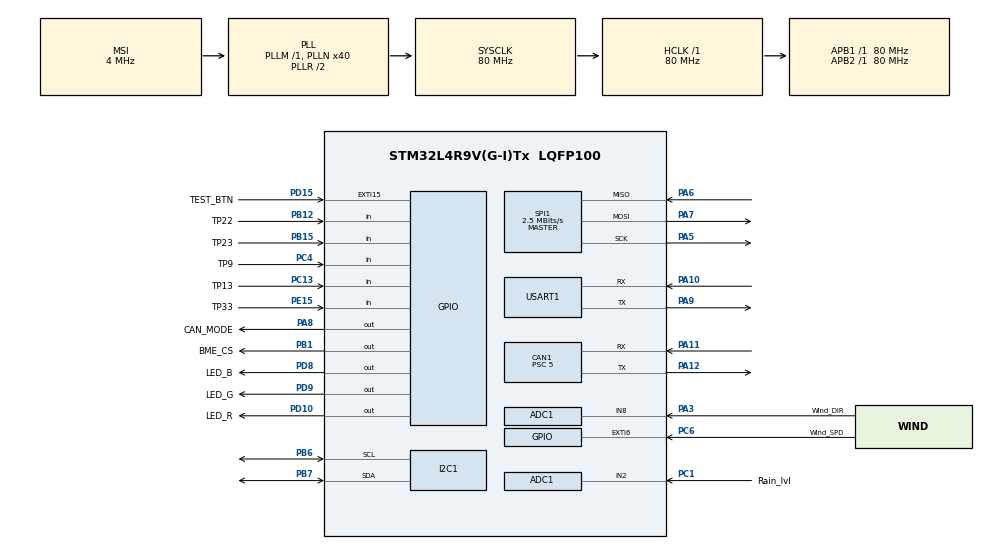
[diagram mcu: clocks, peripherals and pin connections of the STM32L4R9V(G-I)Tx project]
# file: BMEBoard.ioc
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ADC1.Channel-0\#ChannelRegularConversion=ADC_CHANNEL_2
ADC1.ClockPrescaler=ADC_CLOCK_ASYNC_DIV1
ADC1.ContinuousConvMode=DISABLE
ADC1.DMAContinuousRequests=DISABLE
ADC1.EOCSelection=ADC_EOC_SEQ_CONV
ADC1.NbrOfConversion=1
ADC1.NbrOfConversionFlag=1
ADC1.OffsetNumber-0\#ChannelRegularConversion=ADC_OFFSET_NONE
ADC1.Overrun=ADC_OVR_DATA_OVERWRITTEN
ADC1.Rank-0\#ChannelRegularConversion=1
ADC1.SamplingTime-0\#ChannelRegularConversion=ADC_SAMPLETIME_640CYCLES_5
ADC1.master=1
CAN1.AWUM=ENABLE
CAN1.BS1=CAN_BS1_13TQ
CAN1.BS2=CAN_BS2_2TQ
CAN1.CalculateBaudRate=1000000
CAN1.CalculateTimeBit=1000.00
CAN1.CalculateTimeQuantum=62.5
CAN1.NART=ENABLE
CAN1.Prescaler=5
Dma.Request0=USART1_TX
Dma.USART1_TX.0.Direction=DMA_MEMORY_TO_PERIPH
Dma.USART1_TX.0.EventEnable=DISABLE
Dma.USART1_TX.0.Instance=DMA1_Channel2
Dma.USART1_TX.0.MemDataAlignment=DMA_MDATAALIGN_BYTE
Dma.USART1_TX.0.MemInc=DMA_MINC_ENABLE
Dma.USART1_TX.0.Mode=DMA_NORMAL
Dma.USART1_TX.0.PeriphDataAlignment=DMA_PDATAALIGN_BYTE
Dma.USART1_TX.0.PeriphInc=DMA_PINC_DISABLE
Dma.USART1_TX.0.Polarity=HAL_DMAMUX_REQUEST_GEN_RISING
Dma.USART1_TX.0.Priority=DMA_PRIORITY_LOW
Dma.USART1_TX.0.RequestNumber=1
Dma.USART1_TX.0.SignalID=NONE
Dma.USART1_TX.0.SyncEnable=DISABLE
Dma.USART1_TX.0.SyncPolarity=HAL_DMAMUX_SYNC_NO_EVENT
Dma.USART1_TX.0.SyncRequestNumber=1
Dma.USART1_TX.0.SyncSignalID=NONE
FREERTOS.HEAP_NUMBER=5
FREERTOS.INCLUDE_pcTaskGetTaskName=1
FREERTOS.INCLUDE_uxTaskGetStackHighWaterMark2=1
FREERTOS.INCLUDE_vTaskCleanUpResources=1
FREERTOS.INCLUDE_xEventGroupSetBitFromISR=1
FREERTOS.INCLUDE_xSemaphoreGetMutexHolder=1
FREERTOS.INCLUDE_xTaskAbortDelay=1
FREERTOS.INCLUDE_xTaskGetCurrentTaskHandle=1
FREERTOS.INCLUDE_xTaskGetHandle=1
FREERTOS.Mutexes01=BME280_lock,Dynamic,NULL;SerialID_lock,Dynamic,NULL
FREERTOS.Tasks01=defaultTask,24,2048,startDefaultTask,Default,nullptr,Dynamic,NULL,NULL
FREERTOS.configCHECK_FOR_STACK_OVERFLOW=2
FREERTOS.configENABLE_FPU=1
FREERTOS.configGENERATE_RUN_TIME_STATS=0
FREERTOS.configMINIMAL_STACK_SIZE=2048
FREERTOS.configRECORD_STACK_HIGH_ADDRESS=1
FREERTOS.configTOTAL_HEAP_SIZE=200000
FREERTOS.configUSE_DAEMON_TASK_STARTUP_HOOK=0
FREERTOS.configUSE_IDLE_HOOK=0
FREERTOS.configUSE_MALLOC_FAILED_HOOK=1
FREERTOS.configUSE_NEWLIB_REENTRANT=1
FREERTOS.configUSE_POSIX_ERRNO=1
FREERTOS.configUSE_STATS_FORMATTING_FUNCTIONS=0
FREERTOS.configUSE_TICK_HOOK=0
FREERTOS.configUSE_TRACE_FACILITY=0
I2C1.Timing=0x10909CEC
Mcu.Family=STM32L4
Mcu.Name=STM32L4R9V(G-I)Tx
Mcu.Package=LQFP100
NVIC.ADC1_IRQn=true\:5\:0\:false\:false\:true\:true\:true\:true
NVIC.CAN1_RX0_IRQn=true\:5\:0\:false\:false\:true\:true\:true\:true
NVIC.CAN1_RX1_IRQn=true\:5\:0\:false\:false\:true\:true\:true\:true
NVIC.CAN1_TX_IRQn=true\:5\:0\:false\:false\:true\:true\:true\:true
NVIC.DMA1_Channel2_IRQn=true\:5\:0\:false\:false\:true\:true\:false\:true
NVIC.EXTI15_10_IRQn=true\:5\:0\:false\:false\:true\:true\:true\:true
NVIC.EXTI9_5_IRQn=true\:5\:0\:false\:false\:true\:true\:true\:true
NVIC.PriorityGroup=NVIC_PRIORITYGROUP_4
NVIC.SPI1_IRQn=true\:5\:0\:false\:false\:true\:true\:true\:true
NVIC.TIM1_BRK_TIM15_IRQn=true\:5\:0\:false\:false\:true\:true\:true\:true
NVIC.TIM1_TRG_COM_TIM17_IRQn=true\:0\:0\:false\:false\:true\:false\:false\:true
NVIC.TIM2_IRQn=true\:5\:0\:false\:false\:true\:true\:true\:true
NVIC.TimeBase=TIM1_TRG_COM_TIM17_IRQn
NVIC.TimeBaseIP=TIM17
NVIC.USART1_IRQn=true\:5\:0\:false\:false\:true\:true\:true\:true
PA10.Mode=Asynchronous
PA10.Signal=USART1_RX
PA11.Mode=CAN_Activate
PA11.Signal=CAN1_RX
PA12.Mode=CAN_Activate
PA12.Signal=CAN1_TX
PA13\ (JTMS/SWDIO).Mode=Trace_Synchro_4bits_JTAG
PA13\ (JTMS/SWDIO).Signal=SYS_JTMS-SWDIO
PA14\ (JTCK/SWCLK).Mode=Trace_Synchro_4bits_JTAG
PA14\ (JTCK/SWCLK).Signal=SYS_JTCK-SWCLK
PA15\ (JTDI).Mode=Trace_Synchro_4bits_JTAG
PA15\ (JTDI).Signal=SYS_JTDI
PA3.GPIO_Label=Wind_DIR
PA3.Signal=ADCx_IN8
PA5.Mode=Full_Duplex_Master
PA5.Signal=SPI1_SCK
PA6.Mode=Full_Duplex_Master
PA6.Signal=SPI1_MISO
PA7.Mode=Full_Duplex_Master
PA7.Signal=SPI1_MOSI
PA8.GPIO_Label=CAN_MODE
PA8.Signal=GPIO_Output
PA9.Mode=Asynchronous
PA9.Signal=USART1_TX
PB1.GPIO_Label=BME_CS
PB1.Signal=GPIO_Output
PB12.GPIO_Label=TP22
PB12.Signal=GPIO_Input
PB15.GPIO_Label=TP23
PB15.Signal=GPIO_Input
PB3\ (JTDO/TRACESWO).Mode=Trace_Synchro_4bits_JTAG
PB3\ (JTDO/TRACESWO).Signal=SYS_JTDO-SWO
PB6.Mode=I2C
PB6.Signal=I2C1_SCL
PB7.Mode=I2C
PB7.Signal=I2C1_SDA
PC1.GPIO_Label=Rain_lvl
PC1.Signal=ADCx_IN2
PC13.GPIO_Label=TP13
PC13.Signal=GPIO_Input
PC4.GPIO_Label=TP9
PC4.Signal=GPIO_Input
PC6.GPIO_Label=Wind_SPD
PC6.GPIO_ModeDefaultEXTI=GPIO_MODE_IT_RISING_FALLING
PC6.Signal=GPXTI6
PD10.GPIO_Label=LED_R
PD10.Signal=GPIO_Output
PD15.GPIO_Label=TEST_BTN
PD15.Signal=GPXTI15
PD8.GPIO_Label=LED_B
PD8.Signal=GPIO_Output
PD9.GPIO_Label=LED_G
PD9.Signal=GPIO_Output
PE15.GPIO_Label=TP33
PE15.Signal=GPIO_Input
PE2.Mode=Trace_Synchro_4bits_JTAG
PE2.Signal=SYS_TRACECLK
PE3.Mode=Trace_Synchro_4bits_JTAG
PE3.Signal=SYS_TRACED0
PE4.Mode=Trace_Synchro_4bits_JTAG
PE4.Signal=SYS_TRACED1
PE5.Mode=Trace_Synchro_4bits_JTAG
PE5.Signal=SYS_TRACED2
PE6.Mode=Trace_Synchro_4bits_JTAG
PE6.Signal=SYS_TRACED3
ProjectManager.HeapSize=0x400
ProjectManager.StackSize=0x800
ProjectManager.TargetToolchain=STM32CubeIDE
RCC.ADCFreq_Value=32000000
RCC.AHBFreq_Value=80000000
RCC.APB1Freq_Value=80000000
RCC.APB1TimFreq_Value=80000000
RCC.APB2Freq_Value=80000000
RCC.APB2TimFreq_Value=80000000
RCC.CortexFreq_Value=80000000
RCC.HCLKFreq_Value=80000000
RCC.HSE_VALUE=8000000
RCC.HSI48_VALUE=48000000
RCC.HSI_VALUE=16000000
RCC.LSE_VALUE=32768
RCC.MSI_VALUE=4000000
RCC.PLLN=40
RCC.PLLSAI1N=16
RCC.SYSCLKFreq_VALUE=80000000
RCC.SYSCLKSource=RCC_SYSCLKSOURCE_PLLCLK
RCC.USBFreq_Value=32000000
RCC.VCOOutputFreq_Value=160000000
SH.ADCx_IN2.0=ADC1_IN2,IN2-Single-Ended
SH.ADCx_IN8.0=ADC1_IN8,IN8-Single-Ended
SPI1.BaudRatePrescaler=SPI_BAUDRATEPRESCALER_32
SPI1.CalculateBaudRate=2.5 MBits/s
SPI1.DataSize=SPI_DATASIZE_8BIT
SPI1.Direction=SPI_DIRECTION_2LINES
SPI1.Mode=SPI_MODE_MASTER
SPI1.VirtualType=VM_MASTER
TIM15.Period=1000
TIM15.Prescaler=80-1
TIM16.Prescaler=80-1
TIM2.Prescaler=80-1
USART1.VirtualMode-Asynchronous=VM_ASYNC
VP_CRC_VS_CRC.Mode=CRC_Activate
VP_FREERTOS_VS_CMSIS_V2.Mode=CMSIS_V2
VP_RNG_VS_RNG.Mode=RNG_Activate
VP_SYS_VS_tim17.Mode=TIM17
VP_TIM15_VS_ClockSourceINT.Mode=Internal
VP_TIM16_VS_ClockSourceINT.Mode=Enable_Timer
VP_TIM2_VS_ClockSourceINT.Mode=Internal
board=custom

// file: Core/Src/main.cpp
/* USER CODE BEGIN Header */
/**
 ******************************************************************************
 * @file           : main.c
 * @brief          : Main program body
 ******************************************************************************
 * @attention
 *
 * <h2><center>&copy; Copyright (c) 2021 STMicroelectronics.
 * All rights reserved.</center></h2>
 *
 * This software component is licensed by ST under BSD 3-Clause license,
 * the "License"; You may not use this file except in compliance with the
 * License. You may obtain a copy of the License at:
 *                        opensource.org/licenses/BSD-3-Clause
 *
 ******************************************************************************
 */
/* USER CODE END Header */
#include "main.h"
#include "cmsis_os.h"
#include "adc.h"
#include "can.h"
#include "crc.h"
#include "dma.h"
#include "i2c.h"
#include "rng.h"
#include "spi.h"
#include "tim.h"
#include "usart.h"
#include "gpio.h"

/* USER CODE BEGIN Includes */
#include <string.h>
#include <cstdint>
#include <stdio.h>
#include "bsp/DS28CM00ID/DS28CM00ID.h"
#include "bsp/LEDs/LEDManager.h"
#include "bsp/UART/UARTManager.h"
#include "Logging/UARTLogHandler.h"
/* USER CODE END Includes */

/* USER CODE BEGIN PV */
DS28CM00_ID id1(&hi2c1);
LEDManager leds(
		{ .port = GPIOD, .pin = LED_R_Pin },
		{ .port = GPIOD, .pin = LED_G_Pin },
		{ .port = GPIOD, .pin = LED_B_Pin }
//				{ .port = GPIOD, .pin = LED_G_Pin },
//				{ .port = GPIOD, .pin = LED_B_Pin },
//				{ .port = GPIOD, .pin = LED_R_Pin }
				);

UARTManager uartMan(&huart1);
UARTLogHandler *handler(UARTLogHandler::configure(&uartMan, LOG_LEVEL_ALL));
Logger Log("app");
char textbuffer[256];
/* USER CODE END PV */

void SystemClock_Config(void);
void MX_FREERTOS_Init(void);

int main(void)
{

	/* MCU Configuration--------------------------------------------------------*/

	/* Reset of all peripherals, Initializes the Flash interface and the Systick. */
	HAL_Init();

	/* Configure the system clock */
	SystemClock_Config();

	/* Initialize all configured peripherals */
	MX_GPIO_Init();
	MX_DMA_Init();
	MX_ADC1_Init();
	MX_CAN1_Init();
	MX_I2C1_Init();
	MX_SPI1_Init();
	MX_USART1_UART_Init();
	MX_CRC_Init();
	MX_RNG_Init();
	MX_TIM15_Init();
	MX_TIM16_Init();
	MX_TIM2_Init();
	/* USER CODE BEGIN 2 */

    HAL_ADCEx_Calibration_Start(&hadc1, ADC_SINGLE_ENDED);
	HAL_GPIO_WritePin(CAN_MODE_GPIO_Port, CAN_MODE_Pin, GPIO_PIN_RESET);
	/* USER CODE END 2 */

	/* Init scheduler */
	osKernelInitialize(); /* Call init function for freertos objects (in freertos.c) */
	MX_FREERTOS_Init();
	/* Start scheduler */
	osKernelStart();

	/* We should never get here as control is now taken by the scheduler */
	/* Infinite loop */
	while (1)
	{

	}
}

void SystemClock_Config(void)
{
	RCC_OscInitTypeDef RCC_OscInitStruct =
	{ 0 };
	RCC_ClkInitTypeDef RCC_ClkInitStruct =
	{ 0 };
	RCC_PeriphCLKInitTypeDef PeriphClkInit =
	{ 0 };

	/** Configure the main internal regulator output voltage
	 */
	if (HAL_PWREx_ControlVoltageScaling(PWR_REGULATOR_VOLTAGE_SCALE1) != HAL_OK)
	{
		Error_Handler();
	}
	/** Initializes the RCC Oscillators according to the specified parameters
	 * in the RCC_OscInitTypeDef structure.
	 */
	RCC_OscInitStruct.OscillatorType = RCC_OSCILLATORTYPE_MSI;
	RCC_OscInitStruct.MSIState = RCC_MSI_ON;
	RCC_OscInitStruct.MSICalibrationValue = 0;
	RCC_OscInitStruct.MSIClockRange = RCC_MSIRANGE_6;
	RCC_OscInitStruct.PLL.PLLState = RCC_PLL_ON;
	RCC_OscInitStruct.PLL.PLLSource = RCC_PLLSOURCE_MSI;
	RCC_OscInitStruct.PLL.PLLM = 1;
	RCC_OscInitStruct.PLL.PLLN = 40;
	RCC_OscInitStruct.PLL.PLLP = RCC_PLLP_DIV2;
	RCC_OscInitStruct.PLL.PLLQ = RCC_PLLQ_DIV2;
	RCC_OscInitStruct.PLL.PLLR = RCC_PLLR_DIV2;
	if (HAL_RCC_OscConfig(&RCC_OscInitStruct) != HAL_OK)
	{
		Error_Handler();
	}
	/** Initializes the CPU, AHB and APB buses clocks
	 */
	RCC_ClkInitStruct.ClockType = RCC_CLOCKTYPE_HCLK | RCC_CLOCKTYPE_SYSCLK
			| RCC_CLOCKTYPE_PCLK1 | RCC_CLOCKTYPE_PCLK2;
	RCC_ClkInitStruct.SYSCLKSource = RCC_SYSCLKSOURCE_PLLCLK;
	RCC_ClkInitStruct.AHBCLKDivider = RCC_SYSCLK_DIV1;
	RCC_ClkInitStruct.APB1CLKDivider = RCC_HCLK_DIV1;
	RCC_ClkInitStruct.APB2CLKDivider = RCC_HCLK_DIV1;

	if (HAL_RCC_ClockConfig(&RCC_ClkInitStruct, FLASH_LATENCY_3) != HAL_OK)
	{
		Error_Handler();
	}
	PeriphClkInit.PeriphClockSelection = RCC_PERIPHCLK_USART1
			| RCC_PERIPHCLK_I2C1 | RCC_PERIPHCLK_RNG | RCC_PERIPHCLK_ADC;
	PeriphClkInit.Usart1ClockSelection = RCC_USART1CLKSOURCE_PCLK2;
	PeriphClkInit.I2c1ClockSelection = RCC_I2C1CLKSOURCE_PCLK1;
	PeriphClkInit.AdcClockSelection = RCC_ADCCLKSOURCE_PLLSAI1;
	PeriphClkInit.RngClockSelection = RCC_RNGCLKSOURCE_PLLSAI1;
	PeriphClkInit.PLLSAI1.PLLSAI1Source = RCC_PLLSOURCE_MSI;
	PeriphClkInit.PLLSAI1.PLLSAI1M = 1;
	PeriphClkInit.PLLSAI1.PLLSAI1N = 16;
	PeriphClkInit.PLLSAI1.PLLSAI1P = RCC_PLLP_DIV2;
	PeriphClkInit.PLLSAI1.PLLSAI1Q = RCC_PLLQ_DIV2;
	PeriphClkInit.PLLSAI1.PLLSAI1R = RCC_PLLR_DIV2;
	PeriphClkInit.PLLSAI1.PLLSAI1ClockOut = RCC_PLLSAI1_48M2CLK
			| RCC_PLLSAI1_ADC1CLK;
	if (HAL_RCCEx_PeriphCLKConfig(&PeriphClkInit) != HAL_OK)
	{
		Error_Handler();
	}
}

/* USER CODE BEGIN 4 */

extern void canopen_oneMs(void);
/* USER CODE END 4 */

void HAL_TIM_PeriodElapsedCallback(TIM_HandleTypeDef *htim)
{
	/* USER CODE BEGIN Callback 0 */
	if (htim->Instance == TIM15)
	{
		canopen_oneMs();
	}
	/* USER CODE END Callback 0 */
	if (htim->Instance == TIM17)
	{
		HAL_IncTick();
	}
}

void Error_Handler(void)
{
	__disable_irq();
	while (1)
	{
	}
}

/************************ (C) COPYRIGHT STMicroelectronics *****END OF FILE****/
